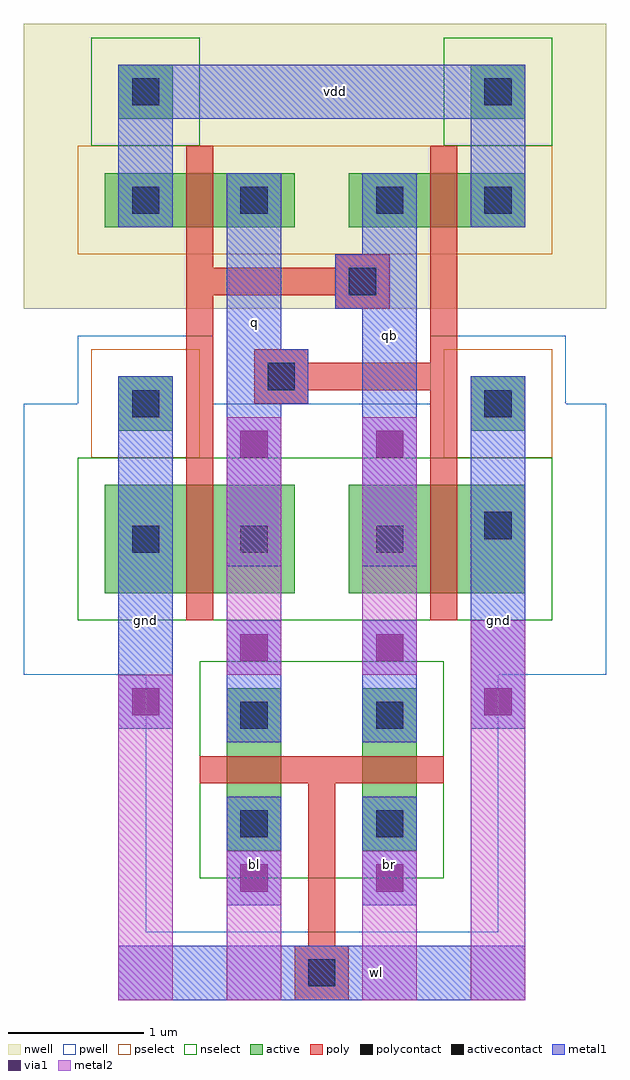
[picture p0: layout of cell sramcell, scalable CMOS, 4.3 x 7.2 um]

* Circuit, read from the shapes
.subckt sramcell bl br gnd q qb vdd wl
M1 q qb gnd gnd nfet w=0.8u l=0.2u
M2 q wl bl gnd nfet w=0.4u l=0.2u
M3 qb wl br gnd nfet w=0.4u l=0.2u
M4 gnd q qb gnd nfet w=0.8u l=0.2u
M5 q qb vdd vdd pfet w=0.4u l=0.2u
M6 vdd q qb vdd pfet w=0.4u l=0.2u
.ends

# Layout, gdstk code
import gdstk
lib = gdstk.Library(unit=1e-6, precision=1e-09)
def R(c, l, rs):  # rectangles x0, y0, x1, y1
    for r in rs: c.add(gdstk.rectangle(r[:2], r[2:], *l))
pwell = (41, 0)
nwell = (42, 0)
active = (43, 0)
pselect = (44, 0)
nselect = (45, 0)
poly = (46, 0)
polycontact = (47, 0)
activecontact = (48, 0)
metal1 = (49, 0)
via1 = (50, 0)
metal2 = (51, 0)

sramcell = lib.new_cell('sramcell')
R(sramcell, pwell, [(0.2,-4.4,2.8,-2.5), (-0.7,-2.5,3.6,-0.5), (-0.3,-0.5,0.7,0), (2.3,-0.5,3.3,0)])
R(sramcell, nwell, [(-0.7,0.2,3.6,2.3)])
R(sramcell, active, [(0.8,-3.8,1.2,-2.6), (1.8,-3.8,2.2,-2.6), (-0.1,-1.9,1.3,-1.1), (1.7,-1.9,3,-1.1), (0,-0.7,0.4,-0.3), (2.6,-0.7,3,-0.3), (-0.1,0.8,1.3,1.2), (1.7,0.8,3,1.2), (0,1.6,0.4,2), (2.6,1.6,3,2)])
R(sramcell, pselect, [(-0.2,-0.9,0.6,-0.1), (2.4,-0.9,3.2,-0.1), (-0.3,0.6,3.2,1.4)])
R(sramcell, nselect, [(0.6,-4,2.4,-2.4), (-0.3,-2.1,3.2,-0.9), (-0.2,1.4,0.6,2.2), (2.4,1.4,3.2,2.2)])
R(sramcell, poly, [(1.3,-4.9,1.7,-4.5), (1.4,-4.5,1.6,-3.3), (0.6,-3.3,2.4,-3.1), (0.5,-2.1,0.7,0.3), (2.3,-2.1,2.5,-0.4), (1,-0.5,1.4,-0.4), (1,-0.4,2.5,-0.2), (1,-0.2,1.4,-0.1), (2.3,-0.2,2.5,1.4), (1.6,0.2,2,0.3), (0.5,0.3,2,0.5), (0.5,0.5,0.7,1.4), (1.6,0.5,2,0.6)])
R(sramcell, polycontact, [(1.4,-4.8,1.6,-4.6), (1.1,-0.4,1.3,-0.2), (1.7,0.3,1.9,0.5)])
R(sramcell, activecontact, [(0.9,-3.7,1.1,-3.5), (1.9,-3.7,2.1,-3.5), (0.9,-2.9,1.1,-2.7), (1.9,-2.9,2.1,-2.7), (0.1,-1.6,0.3,-1.4), (0.9,-1.6,1.1,-1.4), (1.9,-1.6,2.1,-1.4), (2.7,-1.5,2.9,-1.3), (0.1,-0.6,0.3,-0.4), (2.7,-0.6,2.9,-0.4), (0.1,0.9,0.3,1.1), (0.9,0.9,1.1,1.1), (1.9,0.9,2.1,1.1), (2.7,0.9,2.9,1.1), (0.1,1.7,0.3,1.9), (2.7,1.7,2.9,1.9)])
R(sramcell, metal1, [(0,-4.9,3,-4.5), (0.8,-4.2,1.2,-3.4), (1.8,-4.2,2.2,-3.4), (0.8,-3,1.2,-2.1), (1.8,-3,2.2,-2.1), (0,-2.9,0.4,-0.3), (2.6,-2.9,3,-0.3), (0.8,-1.7,1.2,-0.5), (1.8,-1.7,2.2,0.2), (0.8,-0.5,1.4,-0.1), (0.8,-0.1,1.2,1.2), (1.6,0.2,2.2,0.6), (1.8,0.6,2.2,1.2), (0,0.8,0.4,1.6), (2.6,0.8,3,1.6), (0,1.6,3,2)])
R(sramcell, via1, [(0.9,-4.1,1.1,-3.9), (1.9,-4.1,2.1,-3.9), (0.1,-2.8,0.3,-2.6), (2.7,-2.8,2.9,-2.6), (0.9,-2.4,1.1,-2.2), (1.9,-2.4,2.1,-2.2), (0.9,-0.9,1.1,-0.7), (1.9,-0.9,2.1,-0.7)])
R(sramcell, metal2, [(0,-4.9,0.4,-2.5), (0.8,-4.9,1.2,-3.8), (1.8,-4.9,2.2,-3.8), (2.6,-4.9,3,-2.1), (0.8,-2.5,1.2,-0.6), (1.8,-2.5,2.2,-0.6)])
sramcell.add(gdstk.Label('q', (1,0.1), layer=49, texttype=0))
sramcell.add(gdstk.Label('gnd', (0.2,-2.1), layer=49, texttype=0))
sramcell.add(gdstk.Label('bl', (1,-3.9), layer=51, texttype=0))
sramcell.add(gdstk.Label('br', (2,-3.9), layer=51, texttype=0))
sramcell.add(gdstk.Label('gnd', (2.8,-2.1), layer=49, texttype=0))
sramcell.add(gdstk.Label('qb', (2,0), layer=49, texttype=0))
sramcell.add(gdstk.Label('vdd', (1.6,1.8), layer=49, texttype=0))
sramcell.add(gdstk.Label('wl', (1.9,-4.7), layer=49, texttype=0))

lib.write_gds('sramcell.gds')
